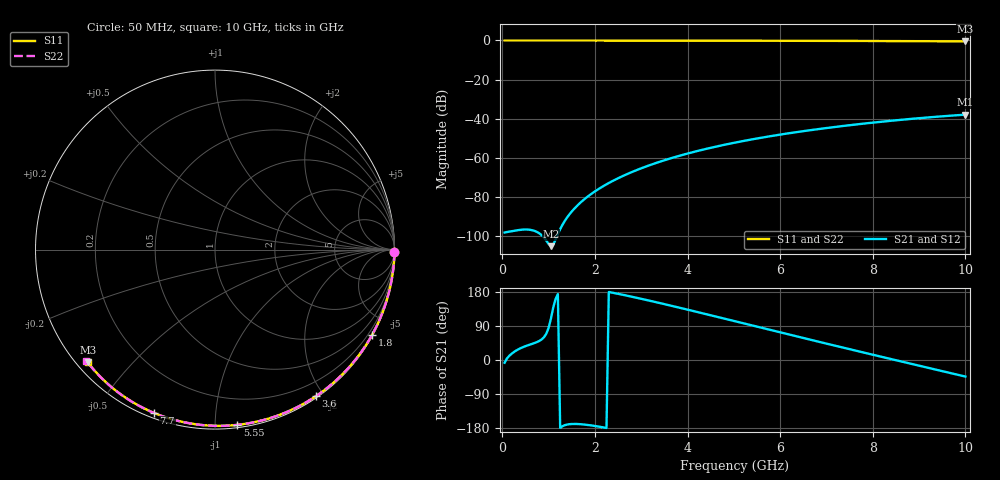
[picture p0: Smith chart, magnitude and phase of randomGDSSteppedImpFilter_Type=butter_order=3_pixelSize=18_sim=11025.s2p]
! freq	dB(S11)	phase(S11)	dB(S12)	phase(S12)
!  dB(S21)	phase(S21)	dB(S22)	phase(S22)
!S-par simulation data
#  GHz  S  DB  R 50
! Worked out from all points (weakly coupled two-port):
!   200 points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, 50 MHz to 10 GHz, reference 50 ohm
!   highest |S21| = -38.00 dB at 10 GHz (marker M1); lowest = -105.3 dB at 1.05 GHz (marker M2)
!   lowest |S11| = -0.5 dB at 10 GHz (marker M3), VSWR 37.14, Z = 1.54 - j18.9 ohm
!   |S11| at or under -10 dB: nowhere
!   |S22| runs from -0.5 to 0.0 dB; largest |S21 - S12| = 0
!   S11 on the Smith chart (normalised r, x): 50 MHz: open; 1.8 GHz: 0.03, -3.95; 3.6 GHz: 0.02, -1.90; 5.55 GHz: 0.02, -1.13; 7.7 GHz: 0.02, -0.69; 10 GHz: 0.03, -0.38
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0.05  -0.00 -0.8  -98.36 -7.2  -98.36 -7.2  -0.00 -0.8
0.55  -0.01 -8.8  -96.84 38.7  -96.84 38.7  -0.01 -8.8
1.05  -0.02 -16.7  -105.35 109.0  -105.35 109.0  -0.02 -16.8
1.75  -0.04 -27.6  -81.74 -170.1  -81.74 -170.1  -0.04 -27.8
1.8  -0.04 -28.4  -80.76 -170.7  -80.76 -170.7  -0.04 -28.5
1.85  -0.04 -29.2  -79.84 -171.5  -79.84 -171.5  -0.04 -29.3
2  -0.04 -31.5  -77.30 -174.1  -77.30 -174.1  -0.04 -31.6
2.15  -0.04 -33.8  -75.03 -177.2  -75.03 -177.2  -0.04 -34.0
2.35  -0.05 -36.9  -72.36 178.3  -72.36 178.3  -0.05 -37.0
2.55  -0.05 -39.9  -69.99 173.4  -69.99 173.4  -0.05 -40.1
2.95  -0.06 -45.9  -65.92 162.9  -65.92 162.9  -0.06 -46.1
3.4  -0.07 -52.6  -62.11 150.3  -62.11 150.3  -0.07 -52.8
3.6  -0.07 -55.5  -60.62 144.6  -60.62 144.6  -0.08 -55.7
4.3  -0.09 -65.5  -56.10 124.0  -56.10 124.0  -0.09 -65.8
5.05  -0.12 -76.0  -52.19 101.6  -52.19 101.6  -0.12 -76.3
5.55  -0.14 -82.8  -49.99 86.5  -49.99 86.5  -0.14 -83.1
6.1  -0.16 -90.1  -47.84 70.0  -47.84 70.0  -0.16 -90.5
6.7  -0.19 -97.9  -45.78 52.1  -45.78 52.1  -0.19 -98.3
7.7  -0.25 -110.5  -42.86 22.7  -42.86 22.7  -0.25 -111.0
8.35  -0.30 -118.5  -41.23 3.8  -41.23 3.8  -0.30 -119.1
9.2  -0.38 -128.8  -39.40 -20.8  -39.40 -20.8  -0.38 -129.4
10  -0.47 -138.5  -38.00 -43.7  -38.00 -43.7  -0.47 -139.2
